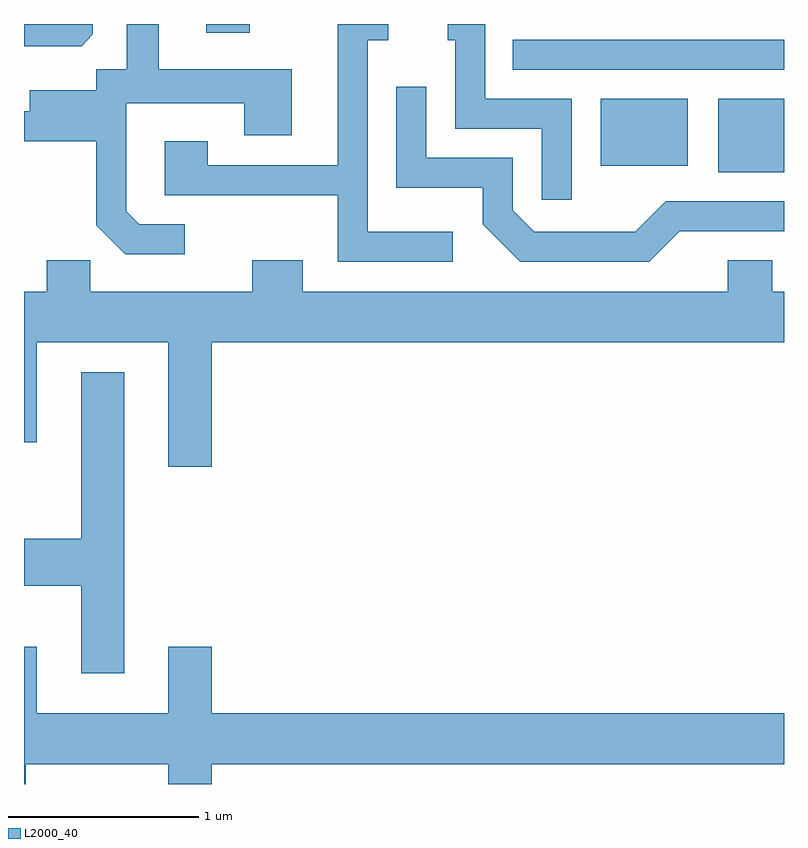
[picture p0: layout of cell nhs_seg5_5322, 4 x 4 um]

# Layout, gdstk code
import gdstk
lib = gdstk.Library(unit=1e-6, precision=1e-09)
def R(c, l, rs):  # rectangles x0, y0, x1, y1
    for r in rs: c.add(gdstk.rectangle(r[:2], r[2:], *l))
def P(c, l, *ps):  # polygons
    for p in ps: c.add(gdstk.Polygon(p, *l))
L2000_40 = (2000, 40)

nhs_seg5_5322 = lib.new_cell('nhs_seg5_5322')
R(nhs_seg5_5322, L2000_40, [(347.266,1413.291,347.611,1413.679), (346.646,1413.326,347.104,1413.679), (346.183,1413.831,347.611,1413.989), (344.571,1414.026,344.799,1414.072)])
P(nhs_seg5_5322, L2000_40, [(346.494,1413.679),(346.039,1413.679),(346.039,1414.072),(345.841,1414.072),(345.841,1413.986),(345.881,1413.986),(345.881,1413.521),(346.336,1413.521),(346.336,1413.148),(346.494,1413.148)],
  [(344.458,1413.019),(344.217,1413.019),(344.149,1413.087),(344.149,1413.656),(344.771,1413.656),(344.771,1413.486),(345.019,1413.486),(345.019,1413.834),(344.319,1413.834),(344.319,1414.072),(344.151,1414.072),(344.151,1413.834),(343.991,1413.834),(343.991,1413.724),(343.641,1413.724),(343.641,1413.614),(343.611,1413.614),(343.611,1413.456),(343.991,1413.456),(343.991,1413.014),(344.144,1412.861),(344.458,1412.861)],
  [(343.974,1414.017),(343.974,1414.072),(343.611,1414.072),(343.611,1413.956),(343.914,1413.956)],
  [(345.868,1412.979),(345.419,1412.979),(345.419,1413.986),(345.529,1413.986),(345.529,1414.072),(345.261,1414.072),(345.261,1413.329),(344.579,1413.329),(344.579,1413.454),(344.351,1413.454),(344.351,1413.171),(345.261,1413.171),(345.261,1412.821),(345.868,1412.821)],
  [(347.062,1412.981),(347.611,1412.981),(347.611,1413.139),(346.989,1413.139),(346.829,1412.979),(346.297,1412.979),(346.184,1413.092),(346.184,1413.369),(345.729,1413.369),(345.729,1413.743),(345.571,1413.743),(345.571,1413.211),(346.026,1413.211),(346.026,1413.019),(346.224,1412.821),(346.902,1412.821)],
  [(344.599,1412.396),(347.611,1412.396),(347.611,1412.664),(347.549,1412.664),(347.549,1412.829),(347.316,1412.829),(347.316,1412.664),(345.079,1412.664),(345.079,1412.829),(344.811,1412.829),(344.811,1412.664),(343.959,1412.664),(343.959,1412.829),(343.731,1412.829),(343.731,1412.664),(343.611,1412.664),(343.611,1411.871),(343.679,1411.871),(343.679,1412.396),(344.371,1412.396),(344.371,1411.741),(344.599,1411.741)],
  [(344.139,1412.239),(343.911,1412.239),(343.911,1411.364),(343.611,1411.364),(343.611,1411.116),(343.911,1411.116),(343.911,1410.656),(344.139,1410.656)],
  [(343.619,1410.176),(344.371,1410.176),(344.371,1410.072),(344.599,1410.072),(344.599,1410.176),(347.611,1410.176),(347.611,1410.444),(344.599,1410.444),(344.599,1410.794),(344.371,1410.794),(344.371,1410.444),(343.679,1410.444),(343.679,1410.794),(343.611,1410.794),(343.611,1410.072),(343.619,1410.072)])

lib.write_gds('nhs_seg5_5322.gds')
